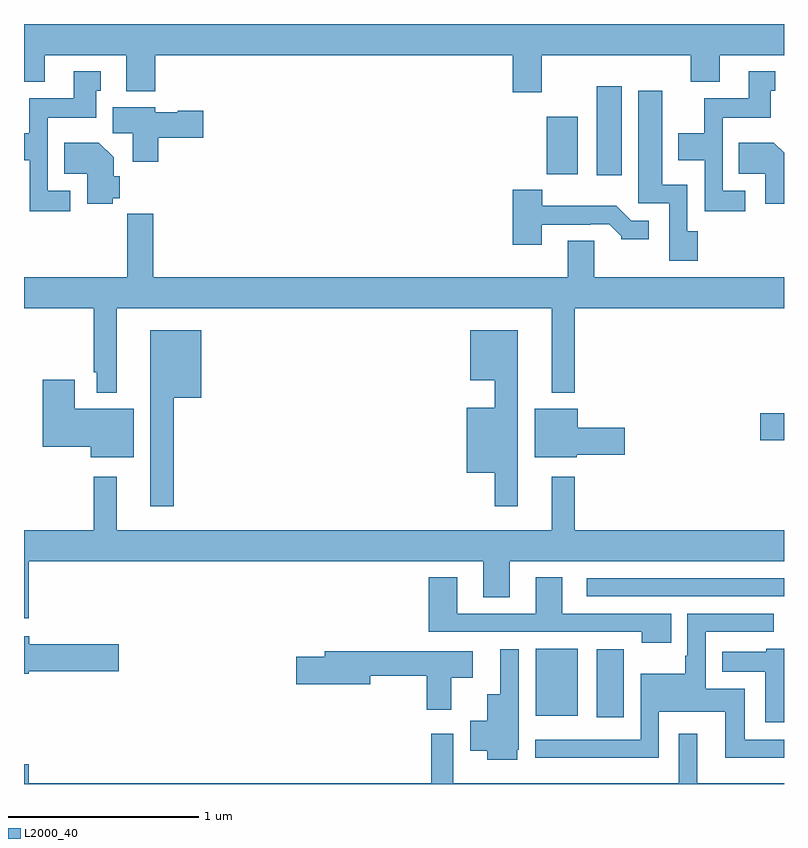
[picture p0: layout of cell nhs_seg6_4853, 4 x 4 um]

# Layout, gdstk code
import gdstk
lib = gdstk.Library(unit=1e-6, precision=1e-09)
def R(c, l, rs):  # rectangles x0, y0, x1, y1
    for r in rs: c.add(gdstk.rectangle(r[:2], r[2:], *l))
def P(c, l, *ps):  # polygons
    for p in ps: c.add(gdstk.Polygon(p, *l))
L2000_40 = (2000, 40)

nhs_seg6_4853 = lib.new_cell('nhs_seg6_4853')
R(nhs_seg6_4853, L2000_40, [(402.014,943.851,402.157,944.209), (401.693,943.859,401.914,944.212), (401.961,944.487,403,944.583), (402.876,945.31,403,945.452), (402.014,946.704,402.145,947.173)])
P(nhs_seg6_4853, L2000_40, [(401.725,947.336),(402.509,947.336),(402.509,947.195),(402.661,947.195),(402.661,947.336),(403,947.336),(403,947.5),(399,947.5),(399,947.195),(399.109,947.195),(399.109,947.336),(399.539,947.336),(399.539,947.147),(399.692,947.147),(399.692,947.336),(401.573,947.336),(401.573,947.142),(401.725,947.142)],
  [(399.244,946.623),(399.126,946.623),(399.126,947.006),(399.379,947.006),(399.379,947.148),(399.403,947.148),(399.403,947.251),(399.263,947.251),(399.263,947.11),(399.028,947.11),(399.028,946.924),(399,946.924),(399,946.784),(399.03,946.784),(399.03,946.515),(399.244,946.515)],
  [(402.796,946.623),(402.678,946.623),(402.678,947.006),(402.931,947.006),(402.931,947.148),(402.955,947.148),(402.955,947.251),(402.815,947.251),(402.815,947.11),(402.58,947.11),(402.58,946.924),(402.443,946.924),(402.443,946.784),(402.582,946.784),(402.582,946.515),(402.796,946.515)],
  [(402.545,946.41),(402.492,946.41),(402.492,946.654),(402.358,946.654),(402.358,947.149),(402.233,947.149),(402.233,946.557),(402.396,946.557),(402.396,946.254),(402.545,946.254)],
  [(399.707,946.901),(399.943,946.901),(399.943,947.043),(399.81,947.043),(399.81,947.035),(399.69,947.035),(399.69,947.062),(399.467,947.062),(399.467,946.924),(399.572,946.924),(399.572,946.776),(399.707,946.776)],
  [(401.914,947.011),(401.75,947.011),(401.75,946.857),(401.752,946.857),(401.752,946.709),(401.914,946.709)],
  [(403,946.822),(402.946,946.876),(402.763,946.876),(402.763,946.712),(402.902,946.712),(402.902,946.555),(403,946.555)],
  [(399.468,946.584),(399.503,946.584),(399.503,946.698),(399.472,946.698),(399.472,946.798),(399.394,946.876),(399.211,946.876),(399.211,946.712),(399.332,946.712),(399.332,946.555),(399.468,946.555)],
  [(401.725,946.443),(401.981,946.443),(401.981,946.446),(402.08,946.446),(402.144,946.382),(402.144,946.367),(402.289,946.367),(402.289,946.464),(402.195,946.464),(402.117,946.543),(401.728,946.543),(401.728,946.627),(401.573,946.627),(401.573,946.338),(401.725,946.338)],
  [(399.487,946.004),(401.777,946.004),(401.777,945.56),(401.899,945.56),(401.899,946.004),(403,946.004),(403,946.168),(402.001,946.168),(402.001,946.358),(401.861,946.358),(401.861,946.168),(399.68,946.168),(399.68,946.501),(399.544,946.501),(399.544,946.168),(399,946.168),(399,946.004),(399.366,946.004),(399.366,945.667),(399.383,945.667),(399.383,945.56),(399.487,945.56)],
  [(401.599,945.889),(401.348,945.889),(401.348,945.626),(401.478,945.626),(401.478,945.481),(401.33,945.481),(401.33,945.137),(401.478,945.137),(401.478,944.961),(401.599,944.961)],
  [(399.787,945.533),(399.934,945.533),(399.934,945.889),(399.665,945.889),(399.665,944.961),(399.787,944.961)],
  [(399.577,945.475),(399.268,945.475),(399.268,945.628),(399.098,945.628),(399.098,945.275),(399.35,945.275),(399.35,945.221),(399.577,945.221)],
  [(401.91,945.232),(402.163,945.232),(402.163,945.374),(401.914,945.374),(401.914,945.475),(401.687,945.475),(401.687,945.221),(401.91,945.221)],
  [(399.026,944.672),(401.417,944.672),(401.417,944.482),(401.557,944.482),(401.557,944.672),(403,944.672),(403,944.836),(401.899,944.836),(401.899,945.118),(401.777,945.118),(401.777,944.836),(399.487,944.836),(399.487,945.118),(399.366,945.118),(399.366,944.836),(399,944.836),(399,944.373),(399.026,944.373)],
  [(402.407,944.397),(401.833,944.397),(401.833,944.587),(401.693,944.587),(401.693,944.397),(401.281,944.397),(401.281,944.587),(401.129,944.587),(401.129,944.301),(402.251,944.301),(402.251,944.244),(402.407,944.244)],
  [(402.342,943.88),(402.692,943.88),(402.692,943.637),(403,943.637),(403,943.734),(402.793,943.734),(402.793,944.002),(402.588,944.002),(402.588,944.301),(402.946,944.301),(402.946,944.397),(402.492,944.397),(402.492,944.176),(402.48,944.176),(402.48,944.08),(402.246,944.08),(402.246,943.734),(401.69,943.734),(401.69,943.637),(402.342,943.637)],
  [(399.024,944.093),(399.499,944.093),(399.499,944.235),(399.028,944.235),(399.028,944.278),(399,944.278),(399,944.08),(399.024,944.08)],
  [(403,944.212),(402.906,944.212),(402.906,944.197),(402.675,944.197),(402.675,944.09),(402.902,944.09),(402.902,943.824),(403,943.824)],
  [(401.596,943.68),(401.604,943.68),(401.604,944.209),(401.507,944.209),(401.507,943.972),(401.438,943.972),(401.438,943.834),(401.348,943.834),(401.348,943.676),(401.438,943.676),(401.438,943.628),(401.596,943.628)],
  [(401.248,944.06),(401.362,944.06),(401.362,944.2),(400.583,944.2),(400.583,944.171),(400.434,944.171),(400.434,944.024),(400.822,944.024),(400.822,944.071),(401.119,944.071),(401.119,943.89),(401.248,943.89)],
  [(403,943.504),(402.544,943.504),(402.544,943.765),(402.447,943.765),(402.447,943.504),(401.26,943.504),(401.26,943.765),(401.143,943.765),(401.143,943.504),(399.026,943.504),(399.026,943.603),(399,943.603),(399,943.5),(403,943.5)])

lib.write_gds('nhs_seg6_4853.gds')
